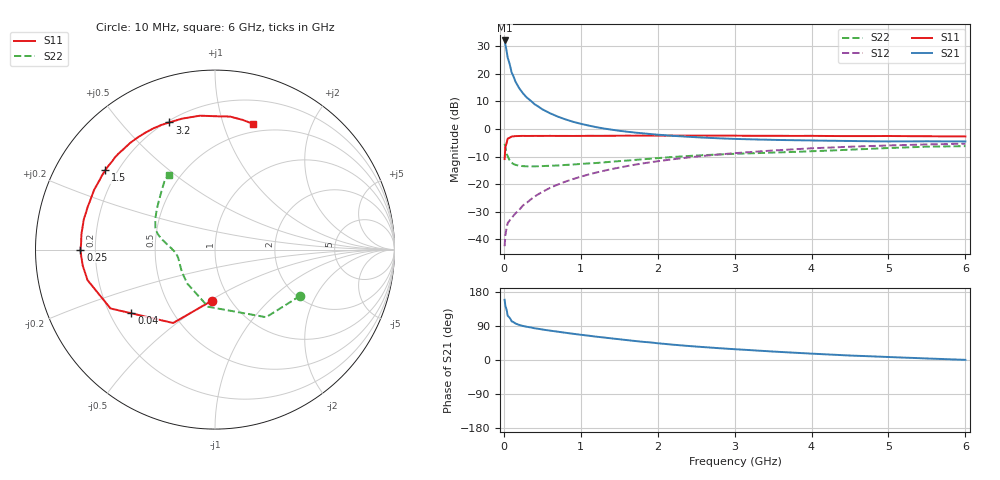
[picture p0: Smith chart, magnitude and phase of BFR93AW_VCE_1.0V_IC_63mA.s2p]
! Infineon Technologies  Discrete & RF Semiconductors
! BFR93AW
! VCE =  1.0 V,  IC =  63 mA
! Common Emitter S-Parameters:  Jan 2017
# GHz  S  MA  R  50
!  f  S11  S21  S12  S22
! GHz  MAG  ANG  MAG  ANG  MAG  ANG  MAG  ANG
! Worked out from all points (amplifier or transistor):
!   77 points, 10 MHz to 6 GHz, reference 50 ohm
!   highest |S21| = 32.1 dB at 10 MHz (marker M1)
!   |S21| within 3 dB of that: start of sweep to 30.76 MHz
!   unconditionally stable (mu >= 1): start of sweep to 11.87 MHz; 113.4 MHz to end of sweep
!   at 130 MHz: K = 1.06, MAG = 23.5 dB, |S12| = -31.3 dB
!   at 2.2 GHz: K = 1.23, MAG = 1.4 dB, |S12| = -11.0 dB
!   at 6 GHz: K = 1.07, MAG = -1.2 dB, |S12| = -5.3 dB
!   S11 on the Smith chart (normalised r, x): 10 MHz: 0.83, -0.51; 40 MHz: 0.29, -0.31; 250 MHz: 0.14, -0.00; 1.5 GHz: 0.15, +0.32; 3.2 GHz: 0.21, +0.68; 6 GHz: 0.42, +1.26
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0.01  0.2842 -93.1  40.27 158.9  0.0075 58.2  0.5405 -28.4
0.02  0.4708 -119.7  34.34 142.4  0.0119 53.2  0.4724 -52.9
0.04  0.5857 -142.7  23.92 128.6  0.017 45.1  0.3449 -78.4
0.05  0.6682 -150.6  19.64 116.5  0.0196 42.7  0.3207 -96.9
0.1  0.7303 -166.5  10.71 102.3  0.0242 45.4  0.2443 -129.1
0.15  0.7424 -173.1  7.263 96.4  0.0294 51.8  0.2241 -144.3
0.2  0.7461 -177.0  5.483 92.6  0.0342 56.9  0.2156 -152.6
0.25  0.7496 -180.0  4.414 89.7  0.0413 59.8  0.2117 -158.1
0.3  0.7468 177.6  3.692 87.6  0.0461 62.7  0.2104 -162.1
0.4  0.7492 173.6  2.81 83.7  0.0595 65.3  0.21 -166.8
0.5  0.7484 170.1  2.275 80.5  0.0723 67.7  0.2123 -170.2
0.6  0.7503 167.1  1.928 77.5  0.0855 68.1  0.2155 -172.6
0.7  0.7478 164.4  1.679 74.8  0.0981 68.4  0.2178 -174.4
0.8  0.7483 161.5  1.493 71.9  0.111 68.5  0.2227 -176.0
1.1  0.7511 153.8  1.155 64.2  0.1494 66.3  0.2374 179.9
1.5  0.7545 144.2  0.928 54.8  0.1995 62.1  0.2613 174.9
2.1  0.7576 130.7  0.769 42.3  0.2713 54.6  0.3034 168.6
3.1  0.7538 111.4  0.655 27.3  0.3725 41.7  0.3579 158.2
3.2  0.7524 109.7  0.65 26.1  0.381 40.4  0.3615 156.9
4.1  0.7483 95.0  0.616 15.8  0.4521 29.2  0.3994 143.6
5.1  0.7439 82.4  0.595 7.1  0.5068 17.7  0.4567 129.4
6  0.7318 73.2  0.594 0.4  0.5417 8.5  0.4882 121.6
